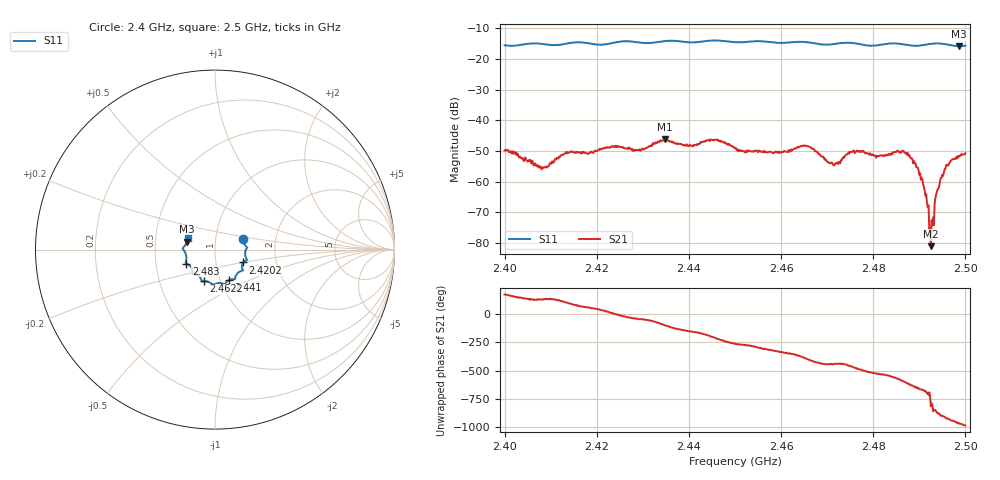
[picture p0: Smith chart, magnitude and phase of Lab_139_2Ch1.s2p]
# Hz S RI R 50
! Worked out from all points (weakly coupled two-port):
!   601 points, 2.4 GHz to 2.5 GHz, reference 50 ohm
!   highest |S21| = -46.23 dB at 2.4348 GHz (marker M1); lowest = -81.1 dB at 2.4925 GHz (marker M2)
!   lowest |S11| = -15.8 dB at 2.4987 GHz (marker M3), VSWR 1.39, Z = 36.4 + j3.3 ohm
!   |S11| at or under -10 dB: start of sweep to end of sweep
!   S12 and S22 are empty: the file has one direction only
!   S11 on the Smith chart (normalised r, x): 2.4 GHz: 1.36, +0.17; 2.4202 GHz: 1.35, -0.20; 2.441 GHz: 1.10, -0.39; 2.4622 GHz: 0.83, -0.30; 2.483 GHz: 0.72, -0.12; 2.5 GHz: 0.73, +0.09
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2.4e9  0.1563 0.0603  -0.00321 0.000337  0 0  0 0
2.408333e9  0.1759 0.00653  -0.00106 0.0013  0 0  0 0
2.416667e9  0.1776 -0.0584  0.00102 0.00268  0 0  0 0
2.420167e9  0.1562 -0.0718  0.00229 0.00224  0 0  0 0
2.433333e9  0.113 -0.1522  0.0011 -0.0044  0 0  0 0
2.434833e9  0.1116 -0.1619  -0.000686 -0.00483  0 0  0 0
2.441e9  0.0769 -0.1704  -0.00349 -0.00152  0 0  0 0
2.445833e9  0.052 -0.1941  -0.00407 0.00259  0 0  0 0
2.45e9  0.0267 -0.1862  -0.000577 0.00347  0 0  0 0
2.462167e9  -0.0632 -0.1765  0.0033 0.000543  0 0  0 0
2.466667e9  -0.0766 -0.1668  0.00223 -0.00263  0 0  0 0
2.471167e9  -0.1075 -0.1375  0.000196 -0.00195  0 0  0 0
2.475333e9  -0.1253 -0.1336  -0.000654 -0.00298  0 0  0 0
2.483e9  -0.1593 -0.0781  -0.00268 5.97e-05  0 0  0 0
2.483333e9  -0.1608 -0.0775  -0.00282 8.44e-05  0 0  0 0
2.486667e9  -0.1613 -0.0626  -0.00174 0.00257  0 0  0 0
2.489333e9  -0.1612 -0.0306  0.000602 0.00163  0 0  0 0
2.491e9  -0.1691 -0.011  0.000543 0.000619  0 0  0 0
2.4925e9  -0.1769 0.000627  -5.84e-06 -8.81e-05  0 0  0 0
2.495e9  -0.1775 0.0105  -0.0013 -4.76e-05  0 0  0 0
2.498667e9  -0.1561 0.0442  -0.00106 0.0024  0 0  0 0
2.5e9  -0.1528 0.0629  -0.000323 0.00288  0 0  0 0
